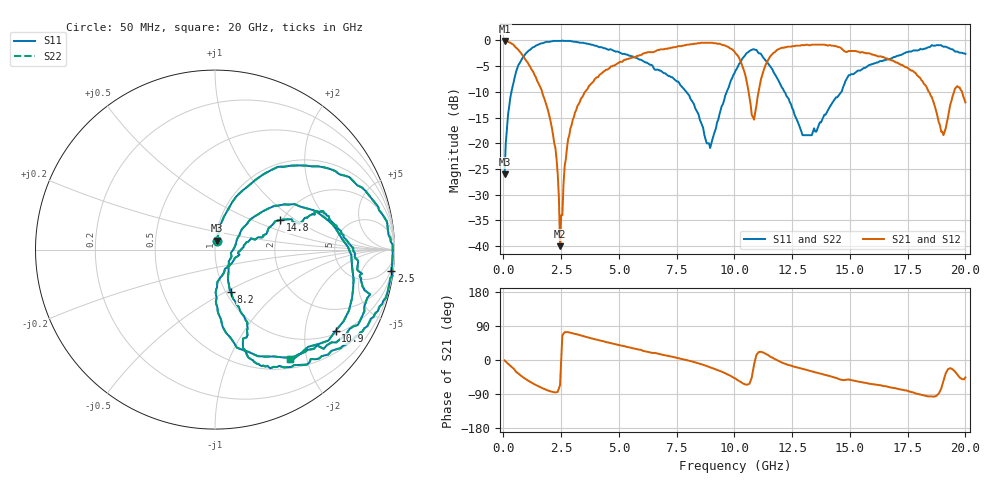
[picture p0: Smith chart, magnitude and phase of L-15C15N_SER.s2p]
# MHZ S MA R 50
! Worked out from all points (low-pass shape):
!   400 points, 50 MHz to 20 GHz, reference 50 ohm
!   highest |S21| = -0.09 dB at 50 MHz (marker M1); lowest = -40.0 dB at 2.45 GHz (marker M2)
!   |S21| within 3 dB of the highest: 5.754 GHz to 10.16 GHz (4.411 GHz wide, 55.4 % of centre); 11.55 GHz to 16.2 GHz (4.643 GHz wide, 33.5 % of centre) (the widest 2 of 3)
!   lowest |S11| = -26.0 dB at 50 MHz (marker M3), VSWR 1.11, Z = 50.8 + j4.98 ohm
!   |S11| at or under -10 dB: start of sweep to 345.6 MHz; 7.919 GHz to 9.666 GHz (1.747 GHz wide, 19.9 % of centre); 12.17 GHz to 14.63 GHz (2.463 GHz wide, 18.4 % of centre)
!   |S22| runs from -26.0 to 0.0 dB; largest |S21 - S12| = 0
!   S11 on the Smith chart (normalised r, x): 50 MHz: 1.02, +0.10; 2.5 GHz: 1, -16; 8.2 GHz: 1.06, -0.53; 10.9 GHz: 1.10, -2.89; 14.8 GHz: 1.95, +0.77; 20 GHz: 0.63, -1.71
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50  0.05 77.8  0.99 -1.2  0.99 -1.2  0.05 77.8
200  0.19 74.8  0.97 -9.9  0.97 -9.9  0.19 74.8
550  0.5 57.2  0.85 -31.2  0.85 -31.2  0.5 57.2
1950  0.97 6.2  0.2 -80.9  0.2 -80.9  0.97 6.2
2300  0.99 -2.3  0.07 -84.9  0.07 -84.9  0.99 -2.3
2450  0.99 -5.5  0.01 -66.1  0.01 -66.1  0.99 -5.5
2500  0.99 -6.9  0.02 -0.6  0.02 -0.6  0.99 -6.9
2800  0.99 -13.5  0.11 73.2  0.11 73.2  0.99 -13.5
3400  0.95 -25.6  0.28 64.0  0.28 64.0  0.95 -25.6
6700  0.52 -70.1  0.81 16.4  0.81 16.4  0.52 -70.1
8200  0.25 -69.6  0.92 -4.4  0.92 -4.4  0.25 -69.6
8950  0.09 -11.4  0.95 -19.4  0.95 -19.4  0.09 -11.4
10050  0.51 29.8  0.75 -49.1  0.75 -49.1  0.51 29.8
10900  0.81 -34.0  0.2 0.5  0.2 0.5  0.81 -34.0
11750  0.47 -82.3  0.77 2.4  0.77 2.4  0.47 -82.3
13350  0.12 -22.8  0.91 -29.9  0.91 -29.9  0.12 -22.8
14800  0.4 24.4  0.78 -52.6  0.78 -52.6  0.4 24.4
16700  0.66 15.5  0.65 -71.6  0.65 -71.6  0.66 15.5
18300  0.84 -13.0  0.36 -94.7  0.36 -94.7  0.84 -13.0
19050  0.87 -30.6  0.12 -55.0  0.12 -55.0  0.87 -30.6
19550  0.78 -43.2  0.34 -30.3  0.34 -30.3  0.78 -43.2
20000  0.74 -55.8  0.25 -45.9  0.25 -45.9  0.74 -55.8
